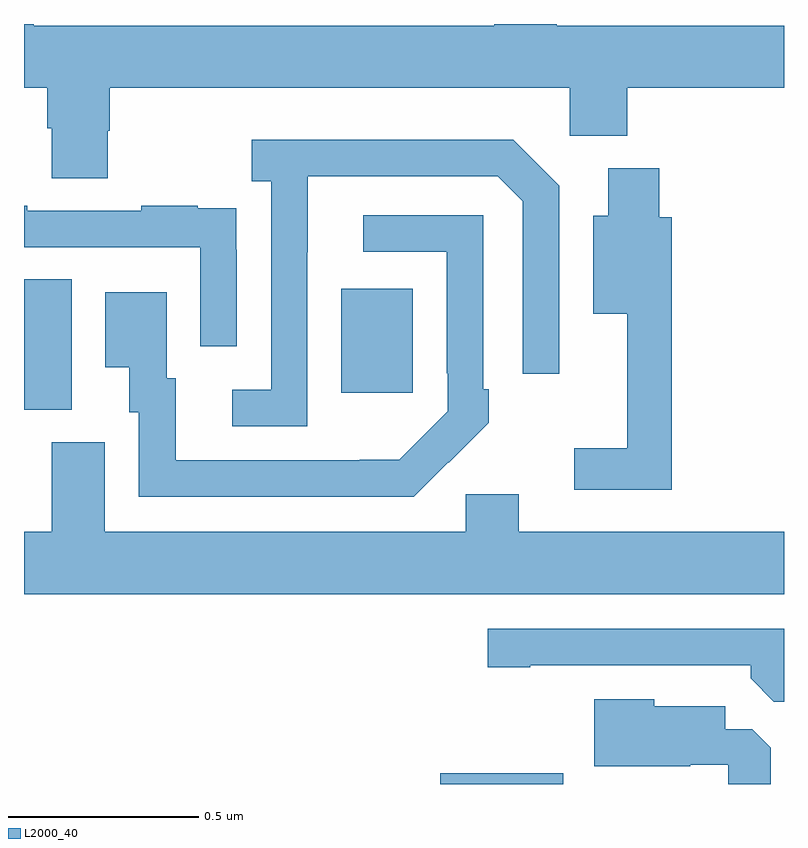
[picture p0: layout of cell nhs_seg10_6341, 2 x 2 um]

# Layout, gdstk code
import gdstk
lib = gdstk.Library(unit=1e-6, precision=1e-09)
def R(c, l, rs):  # rectangles x0, y0, x1, y1
    for r in rs: c.add(gdstk.rectangle(r[:2], r[2:], *l))
def P(c, l, *ps):  # polygons
    for p in ps: c.add(gdstk.Polygon(p, *l))
L2000_40 = (2000, 40)

nhs_seg10_6341 = lib.new_cell('nhs_seg10_6341')
R(nhs_seg10_6341, L2000_40, [(191.096,1282.5,191.419,1282.528), (190,1283.485,190.126,1283.828), (190.835,1283.529,191.023,1283.803)])
P(nhs_seg10_6341, L2000_40, [(190.221,1284.219),(190.226,1284.219),(190.226,1284.332),(191.436,1284.332),(191.436,1284.206),(191.588,1284.206),(191.588,1284.332),(192,1284.332),(192,1284.496),(191.402,1284.496),(191.402,1284.5),(191.237,1284.5),(191.237,1284.496),(190.026,1284.496),(190.026,1284.5),(190,1284.5),(190,1284.332),(190.061,1284.332),(190.061,1284.226),(190.073,1284.226),(190.073,1284.094),(190.221,1284.094)],
  [(190.746,1283.899),(190.747,1283.899),(190.747,1284.099),(191.247,1284.099),(191.313,1284.033),(191.313,1283.58),(191.409,1283.58),(191.409,1284.075),(191.288,1284.196),(190.599,1284.196),(190.599,1284.086),(190.65,1284.086),(190.65,1283.538),(190.548,1283.538),(190.548,1283.442),(190.746,1283.442)],
  [(191.705,1283.991),(191.672,1283.991),(191.672,1284.121),(191.537,1284.121),(191.537,1283.995),(191.498,1283.995),(191.498,1283.738),(191.588,1283.738),(191.588,1283.383),(191.448,1283.383),(191.448,1283.274),(191.705,1283.274)],
  [(190.56,1283.906),(190.559,1283.906),(190.559,1284.015),(190.457,1284.015),(190.457,1284.022),(190.309,1284.022),(190.309,1284.009),(190.009,1284.009),(190.009,1284.022),(190,1284.022),(190,1283.913),(190.464,1283.913),(190.464,1283.652),(190.56,1283.652)],
  [(191.117,1283.347),(191.118,1283.346),(191.223,1283.451),(191.223,1283.539),(191.208,1283.539),(191.208,1283.997),(190.893,1283.997),(190.893,1283.901),(191.112,1283.901),(191.112,1283.581),(191.115,1283.581),(191.115,1283.481),(190.987,1283.353),(190.883,1283.353),(190.883,1283.352),(190.399,1283.352),(190.399,1283.568),(190.375,1283.568),(190.375,1283.794),(190.214,1283.794),(190.214,1283.597),(190.277,1283.597),(190.277,1283.478),(190.302,1283.478),(190.302,1283.256),(191.026,1283.256)],
  [(192,1283.164),(191.302,1283.164),(191.302,1283.262),(191.163,1283.262),(191.163,1283.164),(190.213,1283.164),(190.213,1283.4),(190.073,1283.4),(190.073,1283.164),(190,1283.164),(190,1283),(192,1283)],
  [(192,1282.908),(191.22,1282.908),(191.22,1282.807),(191.332,1282.807),(191.332,1282.812),(191.912,1282.812),(191.912,1282.778),(191.973,1282.716),(192,1282.716)],
  [(191.965,1282.595),(191.916,1282.644),(191.845,1282.644),(191.845,1282.705),(191.658,1282.705),(191.658,1282.723),(191.501,1282.723),(191.501,1282.547),(191.753,1282.547),(191.753,1282.551),(191.853,1282.551),(191.853,1282.5),(191.965,1282.5)])

lib.write_gds('nhs_seg10_6341.gds')
